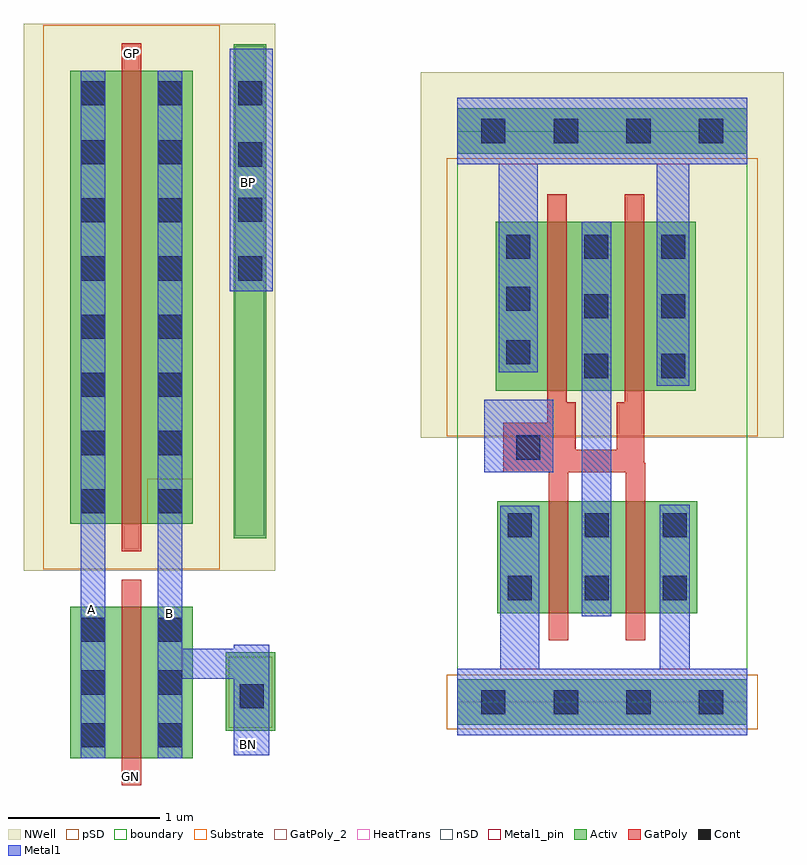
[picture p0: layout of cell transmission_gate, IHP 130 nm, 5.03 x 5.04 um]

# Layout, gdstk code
import gdstk
lib = gdstk.Library(unit=1e-6, precision=1e-09)
def R(c, l, rs):  # rectangles x0, y0, x1, y1
    for r in rs: c.add(gdstk.rectangle(r[:2], r[2:], *l))
def A(c, l, x, y, w, h, nx, ny, dx, dy):  # array of equal rectangles
    R(c, l, [(x+i*dx, y+j*dy, x+i*dx+w, y+j*dy+h) for i in range(nx) for j in range(ny)])
def P(c, l, *ps):  # polygons
    for p in ps: c.add(gdstk.Polygon(p, *l))
Activ = (1, 0)
GatPoly = (5, 0)
GatPoly_2 = (5, 2)
Cont = (6, 0)
nSD = (7, 0)
Metal1 = (8, 0)
Metal1_pin = (8, 2)
pSD = (14, 0)
NWell = (31, 0)
Substrate = (40, 0)
HeatTrans = (51, 0)
boundary = (189, 4)

nmos_1 = lib.new_cell('nmos$1')
R(nmos_1, Activ, [(0,0,0.3,0.3), (0,0,0.81,1), (0.51,0,0.81,0.3)])
R(nmos_1, GatPoly, [(0.34,-0.18,0.47,1.18)])
R(nmos_1, GatPoly_2, [(0.34,-0.18,0.47,1.18)])
A(nmos_1, Cont, 0.07, 0.07, 0.16, 0.16, 1, 3, 0, 0.35)
A(nmos_1, Cont, 0.58, 0.07, 0.16, 0.16, 1, 3, 0, 0.35)
R(nmos_1, Metal1, [(0.07,0,0.23,1), (0.58,0,0.74,1)])
R(nmos_1, Metal1_pin, [(0.07,0,0.23,1), (0.58,0,0.74,1)])
R(nmos_1, HeatTrans, [(0.34,-0.18,0.47,1.18)])
nmos_1.add(gdstk.Label('nmos', (0.405,0.5), layer=63, texttype=0))
nmos_1.add(gdstk.Label('nmos', (0.405,0.5), layer=51, texttype=0))

pmos_1 = lib.new_cell('pmos$1')
R(pmos_1, Activ, [(0,0,0.3,0.3), (0,0,0.81,3), (0.51,0,0.81,0.3)])
R(pmos_1, GatPoly, [(0.34,-0.18,0.47,3.18), (0.34,-0.18,0.47,3.18)])
A(pmos_1, Cont, 0.07, 0.07, 0.16, 0.16, 1, 7, 0, 0.385)
A(pmos_1, Cont, 0.58, 0.07, 0.16, 0.16, 1, 7, 0, 0.385)
R(pmos_1, Cont, [(0.07,2.77,0.23,2.93), (0.58,2.77,0.74,2.93)])
R(pmos_1, Metal1, [(0.07,0,0.23,3), (0.07,0,0.23,3), (0.58,0,0.74,3), (0.58,0,0.74,3)])
R(pmos_1, pSD, [(-0.18,-0.3,0.99,3.3)])
R(pmos_1, NWell, [(-0.31,-0.31,1.12,3.31)])
R(pmos_1, Substrate, [(0.51,0,0.81,0.3)])
R(pmos_1, HeatTrans, [(0.34,-0.18,0.47,3.18)])
pmos_1.add(gdstk.Label('pmos', (0.405,1.5), layer=63, texttype=0))
pmos_1.add(gdstk.Label('pmos', (0.405,1.5), layer=51, texttype=0))

sg13g2_inv_2 = lib.new_cell('sg13g2_inv_2')
R(sg13g2_inv_2, Activ, [(0,-0.15,1.92,0.15), (0.265,0.59,1.59,1.33), (0.255,2.06,1.58,3.18), (0,3.63,1.92,3.93)])
P(sg13g2_inv_2, GatPoly, [(0.605,0.41),(0.605,1.52),(0.305,1.52),(0.305,1.85),(0.595,1.85),(0.595,3.36),(0.725,3.36),(0.725,1.985),(0.785,1.985),(0.785,1.67),(1.055,1.67),(1.055,1.985),(1.11,1.985),(1.11,3.36),(1.24,3.36),(1.24,1.585),(1.245,1.585),(1.245,0.41),(1.115,0.41),(1.115,1.52),(0.735,1.52),(0.735,0.41)])
A(sg13g2_inv_2, Cont, 0.84, 2.145, 0.16, 0.16, 1, 3, 0, 0.395)
A(sg13g2_inv_2, Cont, 1.35, 2.145, 0.16, 0.16, 1, 3, 0, 0.395)
R(sg13g2_inv_2, Cont, [(0.16,-0.08,0.32,0.08), (0.16,-0.08,0.32,0.08), (0.64,-0.08,0.8,0.08), (0.64,-0.08,0.8,0.08), (1.12,-0.08,1.28,0.08), (1.12,-0.08,1.28,0.08), (1.6,-0.08,1.76,0.08), (1.6,-0.08,1.76,0.08), (0.335,0.675,0.495,0.835), (0.845,0.675,1.005,0.835), (1.36,0.675,1.52,0.835), (0.335,1.09,0.495,1.25), (0.845,1.09,1.005,1.25), (1.36,1.09,1.52,1.25), (0.39,1.605,0.55,1.765), (0.325,2.235,0.485,2.395), (0.325,2.59,0.485,2.75), (0.325,2.935,0.485,3.095), (0.16,3.7,0.32,3.86), (0.16,3.7,0.32,3.86), (0.64,3.7,0.8,3.86), (0.64,3.7,0.8,3.86), (1.12,3.7,1.28,3.86), (1.12,3.7,1.28,3.86), (1.6,3.7,1.76,3.86), (1.6,3.7,1.76,3.86)])
R(sg13g2_inv_2, Metal1, [(0.825,0.57,1.02,3.18), (0.18,1.52,0.635,2)])
P(sg13g2_inv_2, Metal1, [(1.32,2.095),(1.32,3.56),(0.535,3.56),(0.535,2.185),(0.275,2.185),(0.275,3.56),(0,3.56),(0,4),(1.92,4),(1.92,3.56),(1.535,3.56),(1.535,2.095)],
  [(0,-0.22),(0,0.22),(0.285,0.22),(0.285,1.3),(0.545,1.3),(0.545,0.22),(1.34,0.22),(1.34,1.305),(1.54,1.305),(1.54,0.22),(1.92,0.22),(1.92,-0.22)])
R(sg13g2_inv_2, Metal1_pin, [(0,-0.22,1.92,0.22), (0.825,0.57,1.02,3.18), (0.18,1.52,0.635,2), (0,3.56,1.92,4)])
R(sg13g2_inv_2, pSD, [(-0.07,-0.18,1.99,0.18), (-0.07,1.76,1.99,3.6)])
R(sg13g2_inv_2, NWell, [(-0.24,1.75,2.16,4.17)])
R(sg13g2_inv_2, boundary, [(0,0,1.92,3.78)])
sg13g2_inv_2.add(gdstk.Label('VSS', (0.89,0), layer=8, texttype=25))
sg13g2_inv_2.add(gdstk.Label('VDD', (0.935,3.785), layer=8, texttype=25))
sg13g2_inv_2.add(gdstk.Label('Y', (0.925,1.855), layer=8, texttype=25))
sg13g2_inv_2.add(gdstk.Label('A', (0.415,1.75), layer=8, texttype=25))

transmission_gate = lib.new_cell('transmission_gate')
R(transmission_gate, Activ, [(0.62,0.525,0.945,1.045), (0.67,1.8,0.885,5.07)])
R(transmission_gate, GatPoly, [(-0.07,1.01,0.06,1.525)])
R(transmission_gate, Cont, [(0.71,0.675,0.87,0.835), (0.7,3.505,0.86,3.665), (0.7,3.895,0.86,4.055), (0.7,4.26,0.86,4.42), (0.7,4.665,0.86,4.825)])
R(transmission_gate, nSD, [(0.68,1.815,0.875,5.055)])
R(transmission_gate, Metal1, [(0.67,0.365,0.905,1.095), (0.285,0.87,0.765,1.07), (-0.34,1.015,-0.18,1.895), (0.17,1.015,0.33,1.895), (0.645,3.435,0.93,5.04)])
R(transmission_gate, pSD, [(0.64,0.545,0.925,1.015)])
R(transmission_gate, NWell, [(0.71,1.585,0.945,5.205)])
transmission_gate.add(gdstk.Reference(nmos_1, (-0.41,0.345)))
transmission_gate.add(gdstk.Reference(pmos_1, (-0.41,1.895)))
transmission_gate.add(gdstk.Reference(sg13g2_inv_2, (2.15,0.715)))
transmission_gate.add(gdstk.Label('B', (0.245,1.3), layer=8, texttype=2))
transmission_gate.add(gdstk.Label('A', (-0.27,1.33), layer=8, texttype=2))
transmission_gate.add(gdstk.Label('BP', (0.77,4.155), layer=8, texttype=2))
transmission_gate.add(gdstk.Label('BN', (0.77,0.435), layer=8, texttype=2))
transmission_gate.add(gdstk.Label('GN', (-0.01,0.225), layer=5, texttype=2))
transmission_gate.add(gdstk.Label('GP', (-0.005,5.01), layer=5, texttype=2))

lib.write_gds('transmission_gate.gds')
